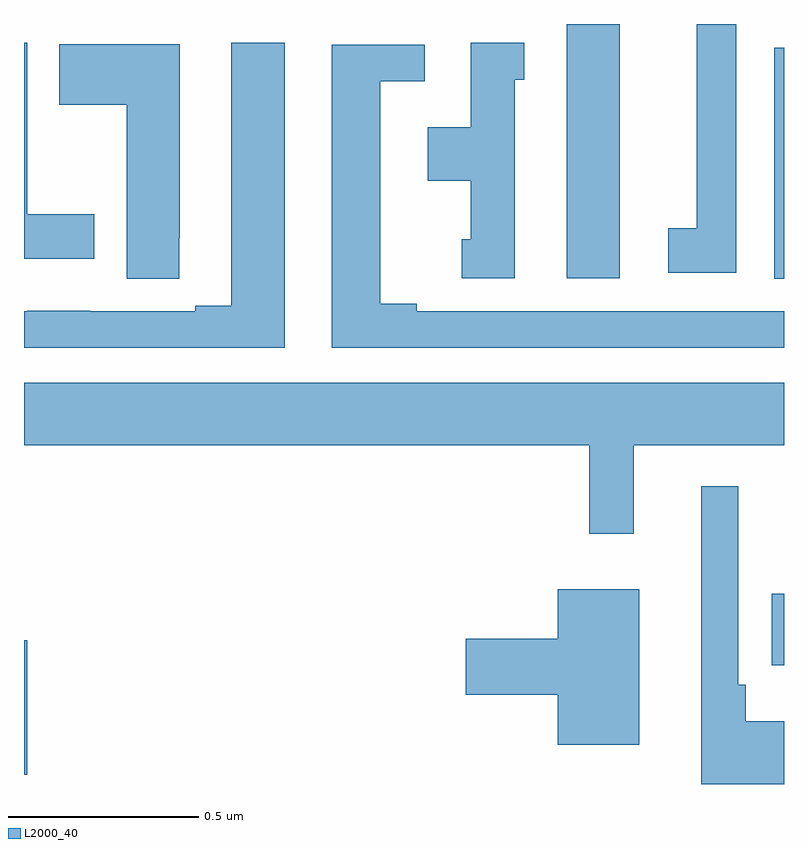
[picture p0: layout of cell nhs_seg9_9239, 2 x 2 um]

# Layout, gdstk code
import gdstk
lib = gdstk.Library(unit=1e-6, precision=1e-09)
def R(c, l, rs):  # rectangles x0, y0, x1, y1
    for r in rs: c.add(gdstk.rectangle(r[:2], r[2:], *l))
def P(c, l, *ps):  # polygons
    for p in ps: c.add(gdstk.Polygon(p, *l))
L2000_40 = (2000, 40)

nhs_seg9_9239 = lib.new_cell('nhs_seg9_9239')
R(nhs_seg9_9239, L2000_40, [(227,1223.525,227.009,1223.878), (228.968,1223.813,229,1224.001), (228.974,1224.829,229,1225.437), (228.428,1224.831,228.568,1225.5)])
P(nhs_seg9_9239, L2000_40, [(228.874,1225.5),(228.77,1225.5),(228.77,1224.962),(228.696,1224.962),(228.696,1224.846),(228.874,1224.846)],
  [(227.686,1225.451),(227.546,1225.451),(227.546,1224.759),(227.45,1224.759),(227.45,1224.744),(227.174,1224.744),(227.174,1224.745),(227.008,1224.745),(227.008,1224.744),(227,1224.744),(227,1224.648),(227.686,1224.648)],
  [(228.292,1225.353),(228.316,1225.353),(228.316,1225.451),(228.176,1225.451),(228.176,1225.228),(228.062,1225.228),(228.062,1225.088),(228.176,1225.088),(228.176,1224.933),(228.152,1224.933),(228.152,1224.831),(228.292,1224.831)],
  [(227.185,1224.999),(227.008,1224.999),(227.008,1225.451),(227,1225.451),(227,1224.882),(227.185,1224.882)],
  [(227.409,1224.937),(227.41,1224.937),(227.41,1225.447),(227.093,1225.447),(227.093,1225.288),(227.27,1225.288),(227.27,1224.829),(227.409,1224.829)],
  [(229,1224.744),(228.034,1224.744),(228.034,1224.764),(227.938,1224.764),(227.938,1225.35),(228.055,1225.35),(228.055,1225.446),(227.81,1225.446),(227.81,1224.648),(229,1224.648)],
  [(228.605,1224.392),(229,1224.392),(229,1224.556),(227,1224.556),(227,1224.392),(228.487,1224.392),(228.487,1224.159),(228.605,1224.159)],
  [(229,1223.665),(228.899,1223.665),(228.899,1223.761),(228.879,1223.761),(228.879,1224.283),(228.782,1224.283),(228.782,1223.5),(229,1223.5)],
  [(228.619,1224.013),(228.404,1224.013),(228.404,1223.882),(228.162,1223.882),(228.162,1223.735),(228.404,1223.735),(228.404,1223.603),(228.619,1223.603)])

lib.write_gds('nhs_seg9_9239.gds')
